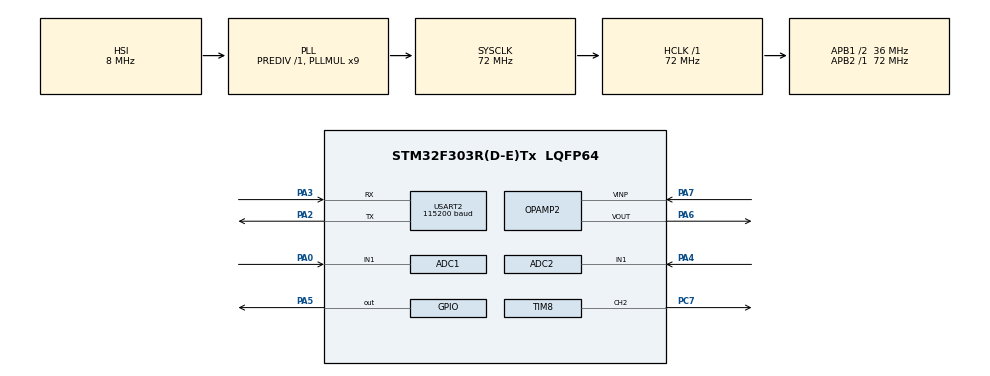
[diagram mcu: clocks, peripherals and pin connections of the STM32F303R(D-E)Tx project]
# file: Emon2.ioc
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ADC1.Channel-8\#ChannelRegularConversion=ADC_CHANNEL_1
ADC1.ClockPrescaler=ADC_CLOCK_SYNC_PCLK_DIV4
ADC1.ContinuousConvMode=ENABLE
ADC1.DMAContinuousRequests=ENABLE
ADC1.DataAlign=ADC_DATAALIGN_RIGHT
ADC1.DiscontinuousConvMode=DISABLE
ADC1.EOCSelection=ADC_EOC_SEQ_CONV
ADC1.EnableAnalogWatchDog1=false
ADC1.EnableAnalogWatchDog2=false
ADC1.EnableAnalogWatchDog3=false
ADC1.EnableInjectedConversion=ENABLE
ADC1.EnableRegularConversion=ENABLE
ADC1.ExternalTrigConv=ADC_EXTERNALTRIGCONV_T8_TRGO2
ADC1.ExternalTrigConvEdge=ADC_EXTERNALTRIGCONVEDGE_RISING
ADC1.InjNumberOfConversion=0
ADC1.LowPowerAutoWait=DISABLE
ADC1.NbrOfConversion=1
ADC1.NbrOfConversionFlag=1
ADC1.Offset-8\#ChannelRegularConversion=0
ADC1.OffsetNumber-8\#ChannelRegularConversion=ADC_OFFSET_NONE
ADC1.Overrun=ADC_OVR_DATA_OVERWRITTEN
ADC1.Rank-8\#ChannelRegularConversion=1
ADC1.Resolution=ADC_RESOLUTION_12B
ADC1.SamplingTime-8\#ChannelRegularConversion=ADC_SAMPLETIME_601CYCLES_5
ADC1.ScanConvMode=ADC_SCAN_DISABLE
ADC1.master=1
ADC2.Channel-0\#ChannelRegularConversion=ADC_CHANNEL_1
ADC2.ClockPrescaler=ADC_CLOCK_SYNC_PCLK_DIV4
ADC2.ContinuousConvMode=ENABLE
ADC2.DMAContinuousRequests=ENABLE
ADC2.EOCSelection=ADC_EOC_SEQ_CONV
ADC2.ExternalTrigConv=ADC_EXTERNALTRIGCONV_T8_TRGO2
ADC2.NbrOfConversionFlag=1
ADC2.Offset-0\#ChannelRegularConversion=0
ADC2.OffsetNumber-0\#ChannelRegularConversion=ADC_OFFSET_NONE
ADC2.Rank-0\#ChannelRegularConversion=1
ADC2.SamplingTime-0\#ChannelRegularConversion=ADC_SAMPLETIME_601CYCLES_5
Dma.ADC1.1.Direction=DMA_PERIPH_TO_MEMORY
Dma.ADC1.1.Instance=DMA1_Channel1
Dma.ADC1.1.MemDataAlignment=DMA_MDATAALIGN_HALFWORD
Dma.ADC1.1.MemInc=DMA_MINC_ENABLE
Dma.ADC1.1.Mode=DMA_CIRCULAR
Dma.ADC1.1.PeriphDataAlignment=DMA_PDATAALIGN_HALFWORD
Dma.ADC1.1.PeriphInc=DMA_PINC_DISABLE
Dma.ADC1.1.Priority=DMA_PRIORITY_LOW
Dma.ADC2.0.Direction=DMA_PERIPH_TO_MEMORY
Dma.ADC2.0.Instance=DMA2_Channel1
Dma.ADC2.0.MemDataAlignment=DMA_MDATAALIGN_HALFWORD
Dma.ADC2.0.MemInc=DMA_MINC_ENABLE
Dma.ADC2.0.Mode=DMA_CIRCULAR
Dma.ADC2.0.PeriphDataAlignment=DMA_PDATAALIGN_HALFWORD
Dma.ADC2.0.PeriphInc=DMA_PINC_DISABLE
Dma.ADC2.0.Priority=DMA_PRIORITY_LOW
Dma.Request0=ADC2
Dma.Request1=ADC1
Mcu.Family=STM32F3
Mcu.Name=STM32F303R(D-E)Tx
Mcu.Package=LQFP64
NVIC.DMA1_Channel1_IRQn=true\:0\:0\:false\:false\:true\:false
NVIC.DMA2_Channel1_IRQn=true\:0\:0\:false\:false\:true\:false
NVIC.PriorityGroup=NVIC_PRIORITYGROUP_4
PA0.Mode=IN1-Single-Ended
PA0.Signal=ADC1_IN1
PA2.Mode=Asynchronous
PA2.Signal=USART2_TX
PA3.Mode=Asynchronous
PA3.Signal=USART2_RX
PA4.Mode=IN1-Single-Ended
PA4.Signal=ADC2_IN1
PA5.Signal=GPIO_Output
PA6.Mode=Follower
PA6.Signal=OPAMP2_VOUT
PA7.Mode=Follower
PA7.Signal=OPAMP2_VINP
PC7.Signal=S_TIM8_CH2
ProjectManager.HeapSize=0x200
ProjectManager.StackSize=0x400
ProjectManager.TargetToolchain=Makefile
RCC.AHBFreq_Value=72000000
RCC.APB1CLKDivider=RCC_HCLK_DIV2
RCC.APB1Freq_Value=36000000
RCC.APB1TimFreq_Value=72000000
RCC.APB2Freq_Value=72000000
RCC.APB2TimFreq_Value=72000000
RCC.CortexFreq_Value=72000000
RCC.HCLKFreq_Value=72000000
RCC.HSE_VALUE=8000000
RCC.HSI_VALUE=8000000
RCC.LSE_VALUE=32768
RCC.PLLMUL=RCC_PLL_MUL9
RCC.SYSCLKFreq_VALUE=72000000
RCC.SYSCLKSourceVirtual=RCC_SYSCLKSOURCE_PLLCLK
RCC.USBFreq_Value=72000000
SH.S_TIM8_CH2.0=TIM8_CH2,PWM Generation2 CH2
TIM8.Channel-PWM\ Generation2\ CH2=TIM_CHANNEL_2
TIM8.Period=9999
TIM8.Prescaler=71
TIM8.TIM_MasterOutputTrigger2=TIM_TRGO2_OC2REF
USART2.BaudRate=115200
USART2.VirtualMode-Asynchronous=VM_ASYNC
USART2.WordLength=WORDLENGTH_8B
board=Emon2

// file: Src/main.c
/**
  ******************************************************************************
  * @file           : main.c
  * @brief          : Main program body
  ******************************************************************************
  ** This notice applies to any and all portions of this file
  * that are not between comment pairs USER CODE BEGIN and
  * USER CODE END. Other portions of this file, whether
  * inserted by the user or by software development tools
  * are owned by their respective copyright owners.
  *
  * COPYRIGHT(c) 2018 STMicroelectronics
  *
  * Redistribution and use in source and binary forms, with or without modification,
  * are permitted provided that the following conditions are met:
  *   1. Redistributions of source code must retain the above copyright notice,
  *      this list of conditions and the following disclaimer.
  *   2. Redistributions in binary form must reproduce the above copyright notice,
  *      this list of conditions and the following disclaimer in the documentation
  *      and/or other materials provided with the distribution.
  *   3. Neither the name of STMicroelectronics nor the names of its contributors
  *      may be used to endorse or promote products derived from this software
  *      without specific prior written permission.
  *
  * THIS SOFTWARE IS PROVIDED BY THE COPYRIGHT HOLDERS AND CONTRIBUTORS "AS IS"
  * AND ANY EXPRESS OR IMPLIED WARRANTIES, INCLUDING, BUT NOT LIMITED TO, THE
  * IMPLIED WARRANTIES OF MERCHANTABILITY AND FITNESS FOR A PARTICULAR PURPOSE ARE
  * DISCLAIMED. IN NO EVENT SHALL THE COPYRIGHT HOLDER OR CONTRIBUTORS BE LIABLE
  * FOR ANY DIRECT, INDIRECT, INCIDENTAL, SPECIAL, EXEMPLARY, OR CONSEQUENTIAL
  * DAMAGES (INCLUDING, BUT NOT LIMITED TO, PROCUREMENT OF SUBSTITUTE GOODS OR
  * SERVICES; LOSS OF USE, DATA, OR PROFITS; OR BUSINESS INTERRUPTION) HOWEVER
  * CAUSED AND ON ANY THEORY OF LIABILITY, WHETHER IN CONTRACT, STRICT LIABILITY,
  * OR TORT (INCLUDING NEGLIGENCE OR OTHERWISE) ARISING IN ANY WAY OUT OF THE USE
  * OF THIS SOFTWARE, EVEN IF ADVISED OF THE POSSIBILITY OF SUCH DAMAGE.
  *
  ******************************************************************************
  */
#include "main.h"
#include "stm32f3xx_hal.h"
#include "adc.h"
#include "dma.h"
#include "opamp.h"
#include "tim.h"
#include "usart.h"
#include "gpio.h"

/* USER CODE BEGIN PV */
/* Private variables ---------------------------------------------------------*/

// Serial output buffer
char log_buffer[100];

#define true 1
#define false 0

// Readings
int8_t readings_ready = false;
double Vrms = 0;
double Irms = 0;
double realPower = 0;
double apparentPower = 0;
double powerFactor = 0;

// Calibration
double VCAL = 268.97;
double ICAL = 20.0;

// Sampling & Filter
int32_t shiftedFCL = 0;

int32_t sampleA0 = 0;
int32_t last_sampleA0 = 0;
int32_t shifted_filterA0 = -10000;

int32_t sampleA1 = 0;
int32_t last_sampleA1 = 0;
int32_t shifted_filterA1 = -10000;

uint64_t sqsumA0 = 0;
uint64_t sqsumA1 = 0;
int64_t sumA0A1 = 0;

uint64_t sqsumA0_copy = 0;
uint64_t sqsumA1_copy = 0;
int64_t sumA0A1_copy = 0;

uint8_t checkVCross = 0;
uint8_t lastVCross = 0;
uint8_t crossCount = 0;
uint64_t sampleCount = 0;
uint64_t sampleCount_copy = 0;
double V_RATIO = 0;
double I_RATIO = 0;

/* USER CODE END PV */

void SystemClock_Config(void);

/* USER CODE BEGIN PFP */
/* Private function prototypes -----------------------------------------------*/

/* USER CODE END PFP */

/* USER CODE BEGIN 0 */
void process_frame(uint16_t offset)
{
  for (int i=0; i<2000; i++) {
    // -------------------------------------------------------------------
    last_sampleA0 = sampleA0;
    sampleA0 = adc1_dma_buff[offset+i];
    // filter
    shiftedFCL = shifted_filterA0 + (int32_t)((sampleA0 - last_sampleA0)<<8);
    shifted_filterA0 = shiftedFCL - (shiftedFCL>>8);
    int32_t filtered_A0 = (shifted_filterA0+128)>>8;
    // sum and sqsum
    sqsumA0 += filtered_A0 * filtered_A0;
    // -------------------------------------------------------------------
    last_sampleA1 = sampleA1;
    sampleA1 = adc2_dma_buff[offset+i];
    // filter
    shiftedFCL = shifted_filterA1 + (int32_t)((sampleA1 - last_sampleA1)<<8);
    shifted_filterA1 = shiftedFCL - (shiftedFCL>>8);
    int32_t filtered_A1 = (shifted_filterA1+128)>>8;
    // sum and sqsum
    sqsumA1 += filtered_A1 * filtered_A1;
    // -------------------------------------------------------------------
    sumA0A1 += filtered_A0 * filtered_A1;

    sampleCount ++;

    lastVCross = checkVCross;
    if (filtered_A0 > 0) checkVCross = true; else checkVCross = false;
    if (lastVCross != checkVCross) crossCount++;

    if (crossCount>=250) {
      crossCount = 0;

      sqsumA0_copy = sqsumA0;
      sqsumA0 = 0;
      sqsumA1_copy = sqsumA1;
      sqsumA1 = 0;
      sumA0A1_copy = sumA0A1;
      sumA0A1 = 0;
      sampleCount_copy = sampleCount;
      sampleCount = 0;

      readings_ready = true;
    }
  }
}

/* USER CODE END 0 */

int main(void)
{

  /* MCU Configuration----------------------------------------------------------*/

  /* Reset of all peripherals, Initializes the Flash interface and the Systick. */
  HAL_Init();

  /* USER CODE BEGIN Init */
  V_RATIO = VCAL * (3.3 / 4096.0);
  I_RATIO = ICAL * (3.3 / 4096.0);
  /* USER CODE END Init */

  /* Configure the system clock */
  SystemClock_Config();

  /* Initialize all configured peripherals */
  MX_GPIO_Init();
  MX_DMA_Init();
  MX_USART2_UART_Init();
  MX_ADC1_Init();
  MX_ADC2_Init();
  MX_TIM8_Init();
  MX_OPAMP2_Init();
  /* USER CODE BEGIN 2 */

  HAL_OPAMP_Start(&hopamp2);

  sprintf(log_buffer,"Vrms\tIrms\tRP\tAP\tPF\r\n");
  debug_printf(log_buffer);

  start_ADCs();

  /* USER CODE END 2 */

  /* Infinite loop */
  /* USER CODE BEGIN WHILE */
  while (1)
  {
     if (readings_ready) {
       readings_ready = false;

       double rmsA0 = sqrt(sqsumA0_copy * (1.0 / sampleCount_copy));
       double rmsA1 = sqrt(sqsumA1_copy * (1.0 / sampleCount_copy));
       double meanA0A1 = sumA0A1_copy * (1.0 / sampleCount_copy);

       Vrms = V_RATIO * rmsA0;
       Irms = I_RATIO * rmsA1;
       realPower = V_RATIO * I_RATIO * meanA0A1;
       apparentPower = Vrms * Irms;
       powerFactor = realPower / apparentPower;

       sprintf(log_buffer,"%.2f\t%.3f\t%.1f\t%.1f\t%.3f\t%d\r\n", Vrms, Irms, realPower, apparentPower, powerFactor, sampleCount_copy);
       debug_printf(log_buffer);
     }
  /* USER CODE END WHILE */

  }

}

void SystemClock_Config(void)
{

  RCC_OscInitTypeDef RCC_OscInitStruct;
  RCC_ClkInitTypeDef RCC_ClkInitStruct;
  RCC_PeriphCLKInitTypeDef PeriphClkInit;

    /**Initializes the CPU, AHB and APB busses clocks
    */
  RCC_OscInitStruct.OscillatorType = RCC_OSCILLATORTYPE_HSI;
  RCC_OscInitStruct.HSIState = RCC_HSI_ON;
  RCC_OscInitStruct.HSICalibrationValue = 16;
  RCC_OscInitStruct.PLL.PLLState = RCC_PLL_ON;
  RCC_OscInitStruct.PLL.PLLSource = RCC_PLLSOURCE_HSI;
  RCC_OscInitStruct.PLL.PLLMUL = RCC_PLL_MUL9;
  RCC_OscInitStruct.PLL.PREDIV = RCC_PREDIV_DIV1;
  if (HAL_RCC_OscConfig(&RCC_OscInitStruct) != HAL_OK)
  {
    _Error_Handler(__FILE__, __LINE__);
  }

    /**Initializes the CPU, AHB and APB busses clocks
    */
  RCC_ClkInitStruct.ClockType = RCC_CLOCKTYPE_HCLK|RCC_CLOCKTYPE_SYSCLK
                              |RCC_CLOCKTYPE_PCLK1|RCC_CLOCKTYPE_PCLK2;
  RCC_ClkInitStruct.SYSCLKSource = RCC_SYSCLKSOURCE_PLLCLK;
  RCC_ClkInitStruct.AHBCLKDivider = RCC_SYSCLK_DIV1;
  RCC_ClkInitStruct.APB1CLKDivider = RCC_HCLK_DIV2;
  RCC_ClkInitStruct.APB2CLKDivider = RCC_HCLK_DIV1;

  if (HAL_RCC_ClockConfig(&RCC_ClkInitStruct, FLASH_LATENCY_2) != HAL_OK)
  {
    _Error_Handler(__FILE__, __LINE__);
  }

  PeriphClkInit.PeriphClockSelection = RCC_PERIPHCLK_USART2|RCC_PERIPHCLK_TIM8;
  PeriphClkInit.Usart2ClockSelection = RCC_USART2CLKSOURCE_PCLK1;
  PeriphClkInit.Tim8ClockSelection = RCC_TIM8CLK_HCLK;
  if (HAL_RCCEx_PeriphCLKConfig(&PeriphClkInit) != HAL_OK)
  {
    _Error_Handler(__FILE__, __LINE__);
  }

    /**Configure the Systick interrupt time
    */
  HAL_SYSTICK_Config(HAL_RCC_GetHCLKFreq()/1000);

    /**Configure the Systick
    */
  HAL_SYSTICK_CLKSourceConfig(SYSTICK_CLKSOURCE_HCLK);

  /* SysTick_IRQn interrupt configuration */
  HAL_NVIC_SetPriority(SysTick_IRQn, 0, 0);
}

void _Error_Handler(char *file, int line)
{
  while(1)
  {
  }
}

/************************ (C) COPYRIGHT STMicroelectronics *****END OF FILE****/
